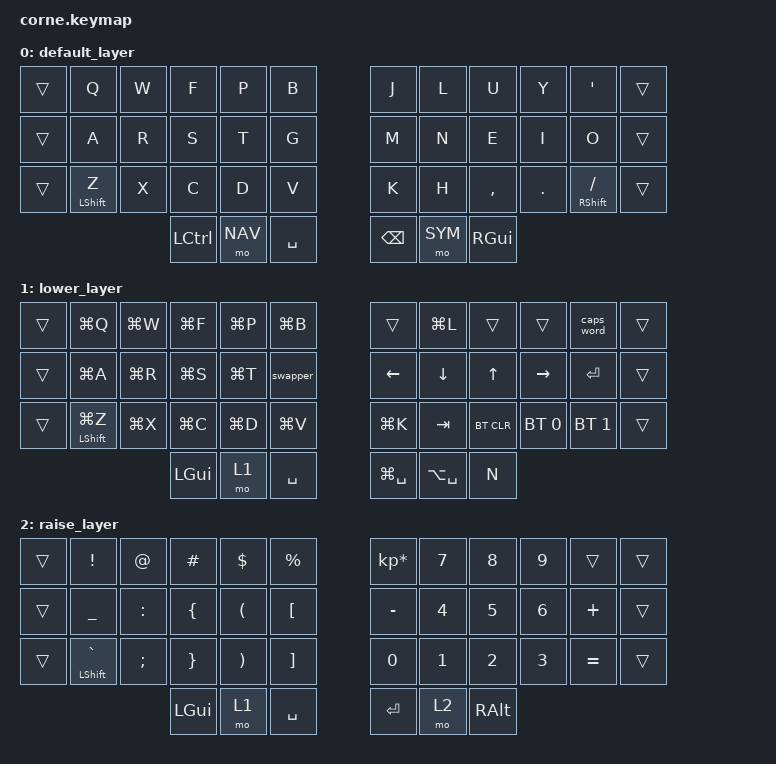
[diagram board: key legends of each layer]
/*
 * Copyright (c) 2020 The ZMK Contributors
 *
 * SPDX-License-Identifier: MIT
 */

#include <behaviors.dtsi>
#include <dt-bindings/zmk/keys.h>
#include <dt-bindings/zmk/bt.h>

#include "../zmk-nodefree-config/helper.h"

#define XXX &none
#define ______ &trans

#define DEFAULT 0
#define NAV   1
#define SYM   2

#define HYP LS(LC(LA(LGUI)))
#define MEH LS(LC(LALT))
#define HYPER(key) LS(LC(LA(LG(key))))

&caps_word {
    continue-list = <UNDERSCORE MINUS BSPC>;
};
 
/ {

    behaviors {
        swapper: swapper {
            compatible = "zmk,behavior-tri-state";
            label = "SWAPPER";
            #binding-cells = <0>;
            bindings = <&kt LGUI>, <&kp TAB>, <&kt LGUI>;
            ignored-key-positions = <21>;
        };
      };
      combos {
        compatible = "zmk,combos";
        combo_ESC {
            timeout-ms = <50>;
            key-positions = <2 3>;
            bindings = <&kp ESC>;
            layers = <0>;
        };
        combo_DEL {
            timeout-ms = <50>;
            key-positions = <8 9>;
            bindings = <&kp DEL>;
            layers = <0>;
        };
        combo_LGUI {
            timeout-ms = <50>;
            key-positions = <15 16>;
            bindings = <&kp LGUI>;
            layers = <0>;
        };
        combo_LALT {
            timeout-ms = <50>;
            key-positions = <14 15>;
            bindings = <&kp LALT>;
            layers = <0>;
        };
        combo_RGUI {
            timeout-ms = <50>;
            key-positions = <19 20>;
            bindings = <&kp RGUI>;
            layers = <0>;
        };
        combo_RCTRL {
            timeout-ms = <50>;
            key-positions = <20 21>;
            bindings = <&kp RCTRL>;
            layers = <0>;
        };
        combo_RALT {
            timeout-ms = <50>;
            key-positions = <32 33>;
            bindings = <&kp RALT>;
            layers = <0>;
        };
    };
    macros {
        raycast: raycast {
            label = "ZM_raycast";
            compatible = "zmk,behavior-macro";
            #binding-cells = <0>;
            bindings = <&kp LG(SPACE)>;
        };
    };

   
      keymap {
        compatible = "zmk,keymap"; 
        default_layer {
         
            // -----------------------------------------------------------------------------------------
            // ||  01  |  02  |  03  |  04  |  05  |   |  06  |  07   |  08  |  09  |  10  ||
            // ||  13  |  14  |  15  |  16  |  17  |   |  18  |  19   |  20  |  21  |  22  ||
            // ||  25  |  26  |  27  |  28  |  29  |   |  30  |  31   |  32  |  33  |  34  ||
            //              | KEN | NAV | BCK |   | SPC | SYM  | JILL 

            bindings = <
               ______ &kp Q       &kp W  &kp F &kp P &kp B   &kp J &kp L &kp U     &kp Y   &kp SQT        ______
               ______ &kp A       &kp R  &kp S &kp T &kp G   &kp M &kp N &kp E     &kp I   &kp O          ______
               ______ &mt LSHFT Z &kp X  &kp C &kp D &kp V   &kp K &kp H &kp COMMA &kp DOT &mt RSHFT FSLH ______
                               &kp LCTRL &mo NAV &kp SPACE   &kp BSPC &mo SYM &kp RGUI
            >;
         };
                   
         lower_layer {
         
            // -----------------------------------------------------------------------------------------
            // || ESC |     |     |     |     |   |     |     |     |     | CAP ||
            // || SPR | ALT | CTR | SHT |     |   | LFT | DWN | UP  | RGT | ENT ||
            // || UND | CUT | CPY |     | PST |   |     | TAB |     |     |     ||
            //              | GUI | LWR | BCK |   |     |     |     |

            bindings = <
               ______   &kp LG(Q)       &kp LG(W) &kp LG(F) &kp LG(P) &kp LG(B)   ______    &kp LG(L)  ______  ______    &caps_word  ______
               ______   &kp LG(A)       &kp LG(R) &kp LG(S) &kp LG(T) &swapper    &kp LEFT  &kp DOWN   &kp UP  &kp RIGHT &kp RET     ______
               ______   &mt LSHFT LG(Z) &kp LG(X) &kp LG(C) &kp LG(D) &kp LG(V)   &kp LG(K) &kp TAB    &bt BT_CLR &bt BT_SEL 0     &bt BT_SEL 1 ______
               &kp LGUI &mo 1 &kp SPACE                                 &kp LG(SPACE)  &kp LA(SPACE)  &kp N
            >;
         };

         raise_layer {
         
            // -----------------------------------------------------------------------------------------
            // ||  !  |  @  |  #  |  $  |  %  |   |  *  |  7  |  8  |  9  |  /  ||
            // ||  _  |  ;  |  [  |  (  |  {  |   |  -  |  4  |  5  |  6  |  +  ||
            // ||  `  |  :  |  ]  |  )  |  }  |   |  0  |  1  |  2  |  3  |  =  ||
            //              | GUI | LWR | BCK |   | SPC | RSE | ALT

            bindings = <
               ______ &kp EXCL        &kp AT    &kp HASH &kp DLLR &kp PRCNT   &kp KP_MULTIPLY &kp N7 &kp N8 &kp N9 &trans ______
               ______ &kp UNDER       &kp COLON &kp LBRC &kp LPAR &kp LBKT      &kp MINUS &kp N4 &kp N5 &kp N6 &kp PLUS ______
               ______ &mt LSHFT GRAVE &kp SEMI  &kp RBRC &kp RPAR &kp RBKT      &kp N0 &kp N1 &kp N2 &kp N3 &kp EQUAL ______
               &kp LGUI &mo 1 &kp SPACE   &kp RET &mo 2 &kp RALT
            >;
         };
      };
};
